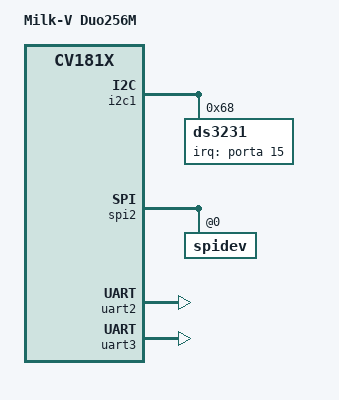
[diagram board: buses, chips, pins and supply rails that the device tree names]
/dts-v1/;
#include "cv181x_base_riscv.dtsi"
#include "cv181x_asic_qfn.dtsi"
#include "cv181x_asic_sd.dtsi"
#include "cv181x_default_memmap.dtsi"

/ {
	model = "Milk-V Duo256M";
};

&mipi_rx {
	snsr-reset = <&portc 17 GPIO_ACTIVE_LOW>, <&portc 17 GPIO_ACTIVE_LOW>, <&portc 17 GPIO_ACTIVE_LOW>;
};

&i2c0 {
	status = "disabled";
};

&i2c4 {
	status = "disabled";
};


&i2c1 {
	status = "okay";

    ds3231: ds3231@68 {
    status = "okay";
    compatible = "ds3231";
    reg = <0x68>;
    /*DuoS
    interrupt-parent = <&portb>;
    interrupts = <18 IRQ_TYPE_EDGE_RISING>;
    irq-gpios = <&portb 18 GPIO_ACTIVE_HIGH>;
    */
    //Duo256M
    interrupt-parent = <&porta>;
    interrupts = <15 IRQ_TYPE_EDGE_RISING>;
    irq-gpios = <&porta 15 GPIO_ACTIVE_HIGH>;
  };
};

&spi2 {
	status = "okay";

	spidev@0 {
		status = "okay";
	};
};

&dac {
	mute-gpio-r = <&porte 1 GPIO_ACTIVE_LOW>;
};

/*
 * UART1 is routed to GP0/GP1 (IIC0_SCL/IIC0_SDA) and is owned by the
 * little core (C906L) running RT-Thread as its console.  Keep it disabled
 * on the Linux side, otherwise both cores drive the same UART controller.
 */
&uart1 {
	status = "disabled";
};

&uart2 {
	status = "okay";
};

&uart3 {
	status = "okay";
};

